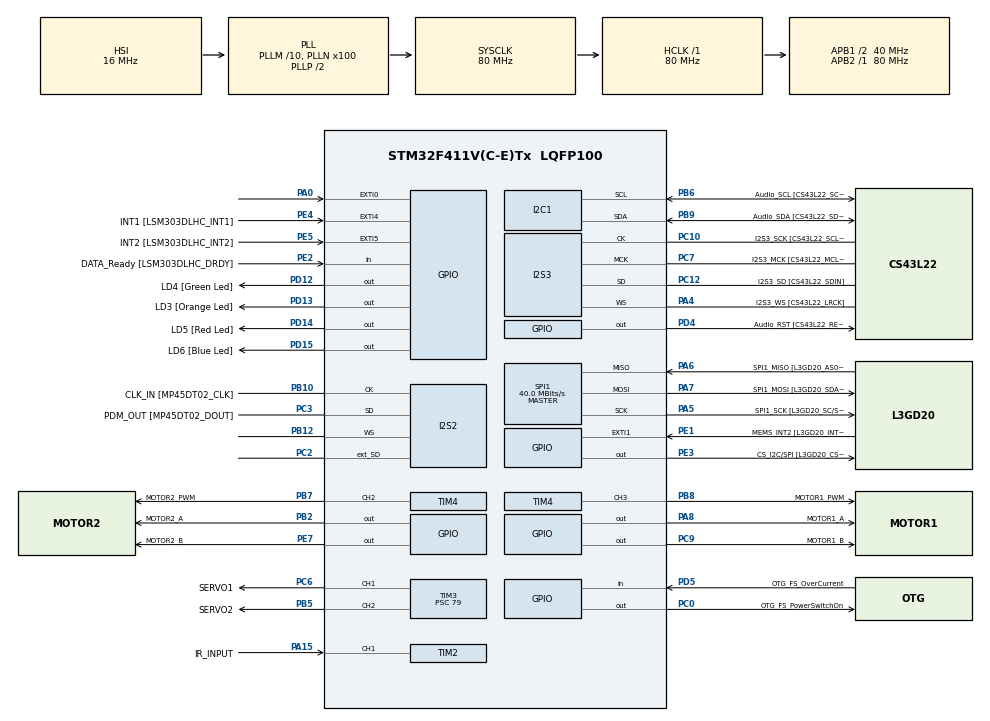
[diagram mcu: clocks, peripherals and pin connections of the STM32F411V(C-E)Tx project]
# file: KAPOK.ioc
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Dma.Request0=TIM2_CH1
Dma.TIM2_CH1.0.Direction=DMA_PERIPH_TO_MEMORY
Dma.TIM2_CH1.0.FIFOMode=DMA_FIFOMODE_DISABLE
Dma.TIM2_CH1.0.Instance=DMA1_Stream5
Dma.TIM2_CH1.0.MemDataAlignment=DMA_MDATAALIGN_WORD
Dma.TIM2_CH1.0.MemInc=DMA_MINC_ENABLE
Dma.TIM2_CH1.0.Mode=DMA_NORMAL
Dma.TIM2_CH1.0.PeriphDataAlignment=DMA_PDATAALIGN_WORD
Dma.TIM2_CH1.0.PeriphInc=DMA_PINC_DISABLE
Dma.TIM2_CH1.0.Priority=DMA_PRIORITY_LOW
I2S2.AudioFreq=I2S_AUDIOFREQ_96K
I2S2.ErrorAudioFreq=0.15 %
I2S2.FullDuplexMode=I2S_FULLDUPLEXMODE_ENABLE
I2S2.Instance=SPI$Index
I2S2.RealAudioFreq=96.153 KHz
I2S2.VirtualMode=I2S_MODE_MASTER
I2S3.AudioFreq=I2S_AUDIOFREQ_96K
I2S3.ErrorAudioFreq=-6.99 %
I2S3.FullDuplexMode=I2S_FULLDUPLEXMODE_DISABLE
I2S3.Instance=SPI$Index
I2S3.RealAudioFreq=89.285 KHz
I2S3.VirtualMode=I2S_MODE_MASTER
Mcu.Family=STM32F4
Mcu.Name=STM32F411V(C-E)Tx
Mcu.Package=LQFP100
NVIC.DMA1_Stream5_IRQn=true\:5\:0\:true\:false\:true\:false\:true
NVIC.PriorityGroup=NVIC_PRIORITYGROUP_4
NVIC.TIM2_IRQn=true\:3\:0\:true\:false\:true\:true\:true
PA0-WKUP.GPIO_ModeDefaultEXTI=GPIO_MODE_EVT_RISING
PA0-WKUP.Signal=GPXTI0
PA10.GPIO_Label=OTG_FS_ID
PA10.Signal=USB_OTG_FS_ID
PA11.GPIO_Label=OTG_FS_DM
PA11.Signal=USB_OTG_FS_DM
PA12.GPIO_Label=OTG_FS_DP
PA12.Signal=USB_OTG_FS_DP
PA13.GPIO_Label=SWDIO
PA13.Mode=Serial_Wire
PA13.Signal=SYS_JTMS-SWDIO
PA14.GPIO_Label=SWCLK
PA14.Mode=Serial_Wire
PA14.Signal=SYS_JTCK-SWCLK
PA15.GPIO_Label=IR_INPUT
PA15.Signal=S_TIM2_CH1_ETR
PA4.GPIO_Label=I2S3_WS [CS43L22_LRCK]
PA4.GPIO_Mode=GPIO_MODE_AF_PP
PA4.GPIO_PuPd=GPIO_NOPULL
PA4.GPIO_Speed=GPIO_SPEED_FREQ_LOW
PA4.Mode=Half_Duplex_Master
PA4.Signal=I2S3_WS
PA5.GPIO_Label=SPI1_SCK [L3GD20_SC/SPC]
PA5.Mode=Full_Duplex_Master
PA5.Signal=SPI1_SCK
PA6.GPIO_Label=SPI1_MISO [L3GD20_AS0/SDO]
PA6.Mode=Full_Duplex_Master
PA6.Signal=SPI1_MISO
PA7.GPIO_Label=SPI1_MOSI [L3GD20_SDA/SDI/SDO]
PA7.Mode=Full_Duplex_Master
PA7.Signal=SPI1_MOSI
PA8.GPIO_Label=MOTOR1_A
PA8.Signal=GPIO_Output
PA9.GPIO_Label=VBUS_FS
PA9.Signal=USB_OTG_FS_VBUS
PB10.GPIO_Label=CLK_IN [MP45DT02_CLK]
PB10.Mode=Full_Duplex_Master
PB10.Signal=I2S2_CK
PB12.Mode=Full_Duplex_Master
PB12.Signal=I2S2_WS
PB2.GPIO_Label=MOTOR2_A
PB2.Signal=GPIO_Output
PB3.GPIO_Label=SWO
PB3.Signal=SYS_JTDO-SWO
PB5.GPIO_Label=SERVO2
PB5.Signal=S_TIM3_CH2
PB6.GPIO_Label=Audio_SCL [CS43L22_SCL]
PB6.GPIO_Mode=GPIO_MODE_AF_OD
PB6.GPIO_PuPd=GPIO_NOPULL
PB6.GPIO_Speed=GPIO_SPEED_FREQ_LOW
PB6.Mode=I2C
PB6.Signal=I2C1_SCL
PB7.GPIO_Label=MOTOR2_PWM
PB7.Signal=S_TIM4_CH2
PB8.GPIO_Label=MOTOR1_PWM
PB8.Signal=S_TIM4_CH3
PB9.GPIO_Label=Audio_SDA [CS43L22_SDA]
PB9.GPIO_Mode=GPIO_MODE_AF_OD
PB9.GPIO_PuPd=GPIO_NOPULL
PB9.GPIO_Speed=GPIO_SPEED_FREQ_LOW
PB9.Mode=I2C
PB9.Signal=I2C1_SDA
PC0.GPIO_Label=OTG_FS_PowerSwitchOn
PC0.PinState=GPIO_PIN_SET
PC0.Signal=GPIO_Output
PC10.GPIO_Label=I2S3_SCK [CS43L22_SCLK]
PC10.GPIO_Mode=GPIO_MODE_AF_PP
PC10.GPIO_PuPd=GPIO_NOPULL
PC10.GPIO_Speed=GPIO_SPEED_FREQ_LOW
PC10.Mode=Half_Duplex_Master
PC10.Signal=I2S3_CK
PC12.GPIO_Label=I2S3_SD [CS43L22_SDIN]
PC12.GPIO_Mode=GPIO_MODE_AF_PP
PC12.GPIO_PuPd=GPIO_NOPULL
PC12.GPIO_Speed=GPIO_SPEED_FREQ_LOW
PC12.Mode=Half_Duplex_Master
PC12.Signal=I2S3_SD
PC14-OSC32_IN.GPIO_Label=PC14-OSC32_IN
PC14-OSC32_IN.Mode=LSE-External-Oscillator
PC14-OSC32_IN.Signal=RCC_OSC32_IN
PC15-OSC32_OUT.GPIO_Label=PC15-OSC32_OUT
PC15-OSC32_OUT.Mode=LSE-External-Oscillator
PC15-OSC32_OUT.Signal=RCC_OSC32_OUT
PC2.Mode=Full_Duplex_Master
PC2.Signal=I2S2_ext_SD
PC3.GPIO_Label=PDM_OUT [MP45DT02_DOUT]
PC3.Mode=Full_Duplex_Master
PC3.Signal=I2S2_SD
PC6.GPIO_Label=SERVO1
PC6.Signal=S_TIM3_CH1
PC7.GPIO_Label=I2S3_MCK [CS43L22_MCLK]
PC7.GPIO_Mode=GPIO_MODE_AF_PP
PC7.GPIO_PuPd=GPIO_NOPULL
PC7.GPIO_Speed=GPIO_SPEED_FREQ_LOW
PC7.Mode=Master_Clock_Activated
PC7.Signal=I2S3_MCK
PC9.GPIO_Label=MOTOR1_B
PC9.Signal=GPIO_Output
PD12.GPIO_Label=LD4 [Green Led]
PD12.GPIO_PuPd=GPIO_NOPULL
PD12.GPIO_Speed=GPIO_SPEED_FREQ_LOW
PD12.Signal=GPIO_Output
PD13.GPIO_Label=LD3 [Orange Led]
PD13.GPIO_PuPd=GPIO_NOPULL
PD13.GPIO_Speed=GPIO_SPEED_FREQ_LOW
PD13.Signal=GPIO_Output
PD14.GPIO_Label=LD5 [Red Led]
PD14.GPIO_PuPd=GPIO_NOPULL
PD14.GPIO_Speed=GPIO_SPEED_FREQ_LOW
PD14.Signal=GPIO_Output
PD15.GPIO_Label=LD6 [Blue Led]
PD15.GPIO_PuPd=GPIO_NOPULL
PD15.GPIO_Speed=GPIO_SPEED_FREQ_LOW
PD15.Signal=GPIO_Output
PD4.GPIO_Label=Audio_RST [CS43L22_RESET]
PD4.Signal=GPIO_Output
PD5.GPIO_Label=OTG_FS_OverCurrent
PD5.Signal=GPIO_Input
PE1.GPIO_Label=MEMS_INT2 [L3GD20_INT2]
PE1.GPIO_ModeDefaultEXTI=GPIO_MODE_EVT_RISING
PE1.Signal=GPXTI1
PE2.GPIO_Label=DATA_Ready [LSM303DLHC_DRDY]
PE2.Signal=GPIO_Input
PE3.GPIO_Label=CS_I2C/SPI [L3GD20_CS_I2C/SPI]
PE3.Signal=GPIO_Output
PE4.GPIO_Label=INT1 [LSM303DLHC_INT1]
PE4.GPIO_ModeDefaultEXTI=GPIO_MODE_EVT_RISING
PE4.Signal=GPXTI4
PE5.GPIO_Label=INT2 [LSM303DLHC_INT2]
PE5.GPIO_ModeDefaultEXTI=GPIO_MODE_EVT_RISING
PE5.Signal=GPXTI5
PE7.GPIO_Label=MOTOR2_B
PE7.Signal=GPIO_Output
PH0\ -\ OSC_IN.GPIO_Label=PH0-OSC_IN
PH0\ -\ OSC_IN.Mode=HSE-External-Clock-Source
PH0\ -\ OSC_IN.Signal=RCC_OSC_IN
PH1\ -\ OSC_OUT.GPIO_Label=PH1-OSC_OUT
PH1\ -\ OSC_OUT.Mode=HSE-External-Clock-Source
PH1\ -\ OSC_OUT.Signal=RCC_OSC_OUT
ProjectManager.HeapSize=0x200
ProjectManager.StackSize=0x400
ProjectManager.TargetToolchain=STM32CubeIDE
RCC.48MHZClocksFreq_Value=20000000
RCC.AHBFreq_Value=80000000
RCC.APB1CLKDivider=RCC_HCLK_DIV2
RCC.APB1Freq_Value=40000000
RCC.APB1TimFreq_Value=80000000
RCC.APB2Freq_Value=80000000
RCC.APB2TimFreq_Value=80000000
RCC.CortexFreq_Value=80000000
RCC.HCLKFreq_Value=80000000
RCC.HSE_VALUE=8000000
RCC.HSI_VALUE=16000000
RCC.PLLI2SM=10
RCC.PLLI2SN=200
RCC.PLLM=10
RCC.PLLN=100
RCC.PLLQ=8
RCC.SYSCLKFreq_VALUE=80000000
RCC.SYSCLKSource=RCC_SYSCLKSOURCE_PLLCLK
RCC.VCOOutputFreq_Value=160000000
SH.S_TIM2_CH1_ETR.0=TIM2_CH1,Input_Capture1_from_TI1
SH.S_TIM2_CH1_ETR.1=TIM2_CH1,TriggerSource_TI1FP1
SH.S_TIM3_CH1.0=TIM3_CH1,PWM Generation1 CH1
SH.S_TIM3_CH2.0=TIM3_CH2,PWM Generation2 CH2
SH.S_TIM4_CH2.0=TIM4_CH2,PWM Generation2 CH2
SH.S_TIM4_CH3.0=TIM4_CH3,PWM Generation3 CH3
SPI1.BaudRatePrescaler=SPI_BAUDRATEPRESCALER_2
SPI1.CalculateBaudRate=40.0 MBits/s
SPI1.Direction=SPI_DIRECTION_2LINES
SPI1.Mode=SPI_MODE_MASTER
SPI1.VirtualType=VM_MASTER
TIM2.AutoReloadPreload=TIM_AUTORELOAD_PRELOAD_DISABLE
TIM2.Channel-Input_Capture1_from_TI1=TIM_CHANNEL_1
TIM2.ICFilter_CH1=4
TIM2.ICPolarity_CH1=TIM_INPUTCHANNELPOLARITY_FALLING
TIM2.Period=0xffffffff
TIM2.Prescaler=40
TIM3.AutoReloadPreload=TIM_AUTORELOAD_PRELOAD_ENABLE
TIM3.Channel-PWM\ Generation1\ CH1=TIM_CHANNEL_1
TIM3.Channel-PWM\ Generation2\ CH2=TIM_CHANNEL_2
TIM3.Period=19999
TIM3.Prescaler=79
TIM4.Channel-PWM\ Generation2\ CH2=TIM_CHANNEL_2
TIM4.Channel-PWM\ Generation3\ CH3=TIM_CHANNEL_3
TIM4.Period=1000
TIM4.Prescaler=800
VP_TIM2_VS_ClockSourceINT.Mode=Internal
VP_TIM2_VS_ControllerModeReset.Mode=Reset Mode
VP_TIM3_VS_ClockSourceINT.Mode=Internal
VP_TIM4_VS_ClockSourceINT.Mode=Internal
board=STM32F411E-DISCO

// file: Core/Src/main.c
/* USER CODE BEGIN Header */
/**
  ******************************************************************************
  * @file           : main.c
  * @brief          : Main program body
  ******************************************************************************
  * @attention
  *
  * <h2><center>&copy; Copyright (c) 2020 STMicroelectronics.
  * All rights reserved.</center></h2>
  *
  * This software component is licensed by ST under Ultimate Liberty license
  * SLA0044, the "License"; You may not use this file except in compliance with
  * the License. You may obtain a copy of the License at:
  *                             www.st.com/SLA0044
  *
  ******************************************************************************
  */
/* USER CODE END Header */

#include "main.h"
#include "dma.h"
#include "i2c.h"
#include "i2s.h"
#include "spi.h"
#include "tim.h"
#include "gpio.h"

/* USER CODE BEGIN Includes */
#include "NEC_Decode.h"
#include "dc_motor.h"
#include "servo.h"
/* USER CODE END Includes */

/* USER CODE BEGIN PV */
NEC nec;

MOTOR_HandleTypeDef motor1;
MOTOR_HandleTypeDef motor2;

volatile uint8_t signal_flag = 0;
volatile uint8_t signal_code;

/* USER CODE END PV */

void SystemClock_Config(void);

/* USER CODE BEGIN 0 */
void myNecDecodedCallback(uint16_t address, uint8_t cmd) {
	signal_code = cmd;
	signal_flag = 1;
    HAL_Delay(10);
    NEC_Read(&nec);
}

void myNecErrorCallback() {
    HAL_Delay(10);
    NEC_Read(&nec);
}

void myNecRepeatCallback() {
	signal_flag = 1;
    HAL_Delay(10);
    NEC_Read(&nec);
}

void HAL_TIM_IC_CaptureCallback(TIM_HandleTypeDef *htim) {
    if (htim == &htim2) {
        NEC_TIM_IC_CaptureCallback(&nec);
    }
}
/* USER CODE END 0 */

int main(void)
{
  /* USER CODE BEGIN 1 */
	uint8_t speed = 0, motor_flag = 0, steering_flag = 0;
	uint16_t direction = 900;

	motor1.timer_pwm = &htim4;
	motor1.channel_pwm = TIM_CHANNEL_2;
	motor1.pin_a = MOTOR1_A_Pin;
	motor1.GPIO_a = MOTOR1_A_GPIO_Port;
	motor1.pin_b = MOTOR1_B_Pin;
	motor1.GPIO_b = MOTOR1_B_GPIO_Port;

	motor2.timer_pwm = &htim4;
	motor2.channel_pwm = TIM_CHANNEL_3;
	motor2.pin_a = MOTOR2_A_Pin;
	motor2.GPIO_a = MOTOR2_A_GPIO_Port;
	motor2.pin_b = MOTOR2_B_Pin;
	motor2.GPIO_b = MOTOR2_B_GPIO_Port;
  /* USER CODE END 1 */

  /* MCU Configuration--------------------------------------------------------*/

  /* Reset of all peripherals, Initializes the Flash interface and the Systick. */
  HAL_Init();

  /* Configure the system clock */
  SystemClock_Config();

  /* Initialize all configured peripherals */
  MX_GPIO_Init();
  MX_DMA_Init();
  MX_I2C1_Init();
  MX_I2S2_Init();
  MX_I2S3_Init();
  MX_SPI1_Init();
  MX_TIM2_Init();
  MX_TIM3_Init();
  MX_TIM4_Init();
  /* USER CODE BEGIN 2 */
  nec.timerHandle = &htim2;

  nec.timerChannel = TIM_CHANNEL_1;
  nec.timerChannelActive = HAL_TIM_ACTIVE_CHANNEL_1;

  nec.timingBitBoundary = 3000;
  nec.timingAgcBoundary = 12500;
  nec.type = NEC_NOT_EXTENDED;

  nec.NEC_DecodedCallback = myNecDecodedCallback;
  nec.NEC_ErrorCallback = myNecErrorCallback;
  nec.NEC_RepeatCallback = myNecRepeatCallback;

//Rozpoczecie PWM Timera 3
  HAL_TIM_PWM_Start(&htim3, TIM_CHANNEL_1);
  HAL_TIM_PWM_Start(&htim3, TIM_CHANNEL_2);

  MOTOR_Init(&motor1);
  MOTOR_Init(&motor2);

  NEC_Read(&nec);

  MOTOR_SetSpeed(&motor1, 1, 20);
  MOTOR_SetSpeed(&motor2, 0, 20);

//Ustawienie serwomotoru odpowiedzialnego skręcanie na pozycji uznawanej za zero
  set_ang2(900, 0);

  /* USER CODE END 2 */

  /* Infinite loop */
  while (1)
  {

    /* USER CODE BEGIN 3 */
	  HAL_GPIO_TogglePin(LD3_GPIO_Port, LD3_Pin);
	  HAL_Delay(200);

    if (signal_flag == 1){
    	signal_flag = 0;
    	switch(signal_code){
    	case 9:
    		if(speed < 80){
    			speed +=10;
    			motor_flag = 1;
    		}
    		break;
    	case 21:
    		if (speed > 0){
    			speed -= 10;
    			motor_flag = 1;
    		}
    		break;
    	case 64:
    		if (direction < 1200){
    			direction += 100;
    			steering_flag = 1;
    		}
    		break;
    	case 67:
    		if (direction > 600){
    			direction -=100;
    			steering_flag = 1;
    		}
    		break;
    	case 68:
    		set_ang1(1700, 0);
    		break;
    	case 7:
    		set_ang1(600, 0);
    		break;
    	default:
    		HAL_GPIO_TogglePin(LD3_GPIO_Port, LD3_Pin);
    		HAL_GPIO_TogglePin(LD4_GPIO_Port, LD4_Pin);
    		HAL_GPIO_TogglePin(LD5_GPIO_Port, LD5_Pin);
    		HAL_GPIO_TogglePin(LD6_GPIO_Port, LD6_Pin);
    	}
    }
    if (motor_flag){
    	motor_flag = 0;
    	MOTOR_SetSpeed(&motor1, 1, speed);
    	MOTOR_SetSpeed(&motor2, 0, speed);
    }
    if (steering_flag){
    	steering_flag = 0;
    	set_ang2(direction, 0);
    }
  }

  /* USER CODE END 3 */
}

void SystemClock_Config(void)
{
  RCC_OscInitTypeDef RCC_OscInitStruct = {0};
  RCC_ClkInitTypeDef RCC_ClkInitStruct = {0};
  RCC_PeriphCLKInitTypeDef PeriphClkInitStruct = {0};

  /** Configure the main internal regulator output voltage
  */
  __HAL_RCC_PWR_CLK_ENABLE();
  __HAL_PWR_VOLTAGESCALING_CONFIG(PWR_REGULATOR_VOLTAGE_SCALE1);
  /** Initializes the CPU, AHB and APB busses clocks
  */
  RCC_OscInitStruct.OscillatorType = RCC_OSCILLATORTYPE_HSI;
  RCC_OscInitStruct.HSIState = RCC_HSI_ON;
  RCC_OscInitStruct.HSICalibrationValue = RCC_HSICALIBRATION_DEFAULT;
  RCC_OscInitStruct.PLL.PLLState = RCC_PLL_ON;
  RCC_OscInitStruct.PLL.PLLSource = RCC_PLLSOURCE_HSI;
  RCC_OscInitStruct.PLL.PLLM = 10;
  RCC_OscInitStruct.PLL.PLLN = 100;
  RCC_OscInitStruct.PLL.PLLP = RCC_PLLP_DIV2;
  RCC_OscInitStruct.PLL.PLLQ = 8;
  if (HAL_RCC_OscConfig(&RCC_OscInitStruct) != HAL_OK)
  {
    Error_Handler();
  }
  /** Initializes the CPU, AHB and APB busses clocks
  */
  RCC_ClkInitStruct.ClockType = RCC_CLOCKTYPE_HCLK|RCC_CLOCKTYPE_SYSCLK
                              |RCC_CLOCKTYPE_PCLK1|RCC_CLOCKTYPE_PCLK2;
  RCC_ClkInitStruct.SYSCLKSource = RCC_SYSCLKSOURCE_PLLCLK;
  RCC_ClkInitStruct.AHBCLKDivider = RCC_SYSCLK_DIV1;
  RCC_ClkInitStruct.APB1CLKDivider = RCC_HCLK_DIV2;
  RCC_ClkInitStruct.APB2CLKDivider = RCC_HCLK_DIV1;

  if (HAL_RCC_ClockConfig(&RCC_ClkInitStruct, FLASH_LATENCY_2) != HAL_OK)
  {
    Error_Handler();
  }
  PeriphClkInitStruct.PeriphClockSelection = RCC_PERIPHCLK_I2S;
  PeriphClkInitStruct.PLLI2S.PLLI2SN = 200;
  PeriphClkInitStruct.PLLI2S.PLLI2SM = 10;
  PeriphClkInitStruct.PLLI2S.PLLI2SR = 2;
  if (HAL_RCCEx_PeriphCLKConfig(&PeriphClkInitStruct) != HAL_OK)
  {
    Error_Handler();
  }
}

void Error_Handler(void)
{
}

/************************ (C) COPYRIGHT STMicroelectronics *****END OF FILE****/
